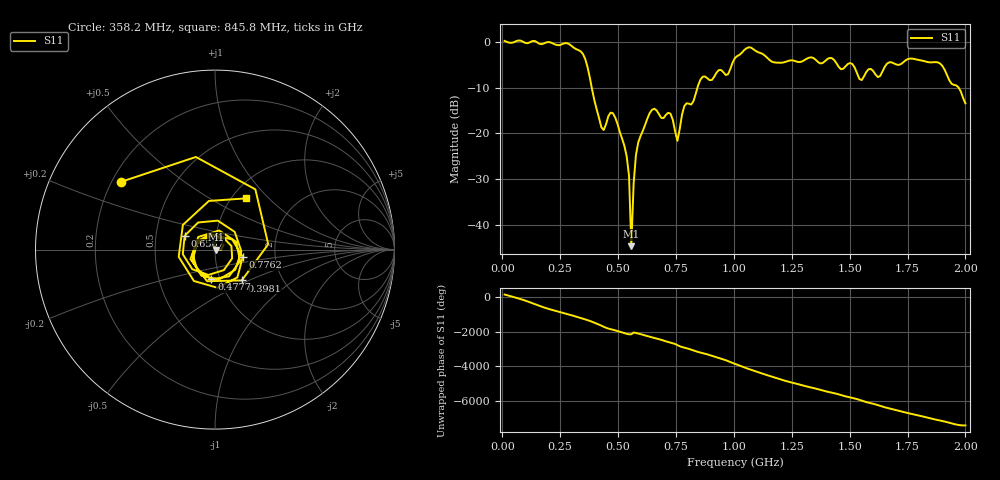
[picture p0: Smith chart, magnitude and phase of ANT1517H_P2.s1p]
!Created with skrf (http://scikit-rf.org).
# Hz S RI R 50.0
!freq ReS11 ImS11
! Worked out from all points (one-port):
!   201 points, 10 MHz to 2 GHz, reference 50 ohm
!   lowest |S11| = -44.5 dB at 557.2 MHz (marker M1), VSWR 1.01, Z = 50.6 + j0.0308 ohm
!   |S11| at or under -10 dB: 386.2 MHz to 843.1 MHz (456.9 MHz wide, 74.3 % of centre); 1.971 GHz to end of sweep
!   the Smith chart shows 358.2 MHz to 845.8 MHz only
!   S11 on the Smith chart (normalised r, x): 358.2 MHz: 0.24, +0.31; 398.1 MHz: 1.26, -0.46; 477.6 MHz: 0.91, -0.31; 656.8 MHz: 0.70, +0.11; 776.1 MHz: 1.36, -0.12; 845.8 MHz: 1.16, +0.75
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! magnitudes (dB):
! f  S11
! 10 MHz  0.1
! 258.8 MHz  -0.5
! 358.2 MHz  -3.8
! 398.1 MHz  -12.9
! 437.9 MHz  -19.2
! 477.6 MHz  -15.6
! 507.5 MHz  -19.7
! 537.4 MHz  -25.0
! 547.3 MHz  -29.2
! 557.2 MHz  -44.5
! 567.2 MHz  -30.9
! 577.1 MHz  -24.7
! 626.9 MHz  -16.7
! 656.8 MHz  -14.6
! 726.4 MHz  -15.7
! 756.2 MHz  -21.6
! 776.1 MHz  -15.9
! 845.8 MHz  -9.5
! 975.1 MHz  -7.1
! 1.005 GHz  -3.6
! 1.065 GHz  -1.2
! 1.254 GHz  -4.1
! 1.502 GHz  -4.7
! 1.552 GHz  -8.4
! 1.582 GHz  -6.0
! 1.751 GHz  -3.8
! 1.891 GHz  -4.8
! 2 GHz  -13.5
